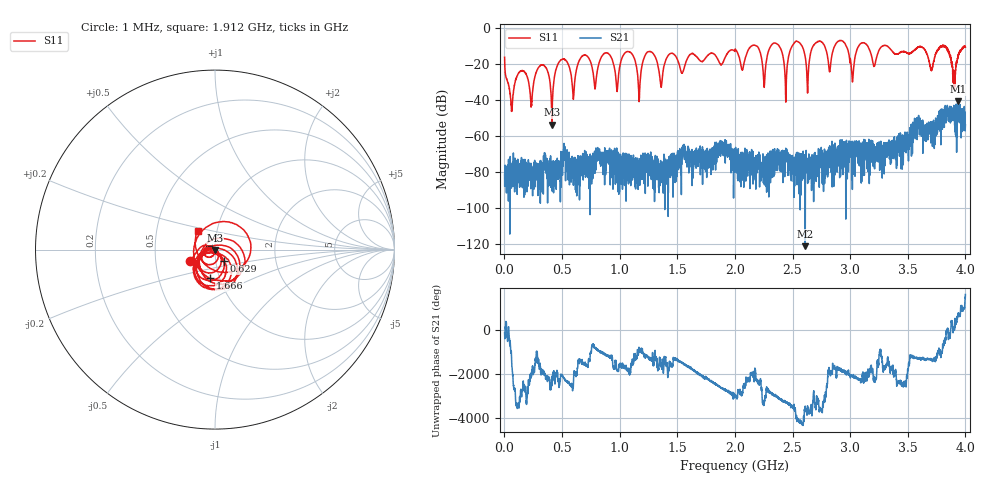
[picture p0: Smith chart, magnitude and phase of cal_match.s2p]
!Created with skrf (http://scikit-rf.org).
# GHz S RI R 50.0
!freq ReS11 ImS11 ReS21 ImS21 ReS12 ImS12 ReS22 ImS22
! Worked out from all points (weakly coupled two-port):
!   4000 points, 1 MHz to 4 GHz, reference 50 ohm
!   highest |S21| = -40.78 dB at 3.934 GHz (marker M1); lowest = -121.2 dB at 2.61 GHz (marker M2)
!   lowest |S11| = -53.8 dB at 412 MHz (marker M3), VSWR 1.00, Z = 50.1 - j0.189 ohm
!   |S11| at or under -10 dB: start of sweep to 2.144 GHz; 3.321 GHz to 3.79 GHz (469.5 MHz wide, 13.2 % of centre); 3.824 GHz to 3.991 GHz (167.1 MHz wide, 4.28 % of centre) (the widest 3 of 18)
!   S12 and S22 are empty: the file has one direction only
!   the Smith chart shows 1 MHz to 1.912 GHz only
!   S11 on the Smith chart (normalised r, x): 1 MHz: 0.75, -0.10; 629 MHz: 1.09, -0.14; 1.666 GHz: 0.90, -0.29; 1.912 GHz: 0.81, +0.17
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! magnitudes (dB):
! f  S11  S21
! 1 MHz  -16.3  -81.2
! 60 MHz  -44.7  -88.9
! 325 MHz  -20.4  -77.5
! 412 MHz  -53.8  -75.4
! 486 MHz  -17.9  -84.4
! 629 MHz  -21.9  -86.0
! 668 MHz  -16.0  -71.9
! 785 MHz  -33.8  -80.7
! 879 MHz  -13.8  -76.3
! 975 MHz  -34.5  -71.4
! 1.334 GHz  -21.3  -80.9
! 1.666 GHz  -15.8  -68.3
! 1.912 GHz  -16.9  -72.5
! 2.001 GHz  -11.8  -78.3
! 2.61 GHz  -16.1  -121.2
! 2.667 GHz  -11.6  -88.3
! 2.93 GHz  -7.1  -68.7
! 3.017 GHz  -27.5  -62.9
! 3.097 GHz  -8.4  -71.4
! 3.334 GHz  -10.7  -64.1
! 3.934 GHz  -16.0  -40.8
! 4 GHz  -10.5  -53.7
